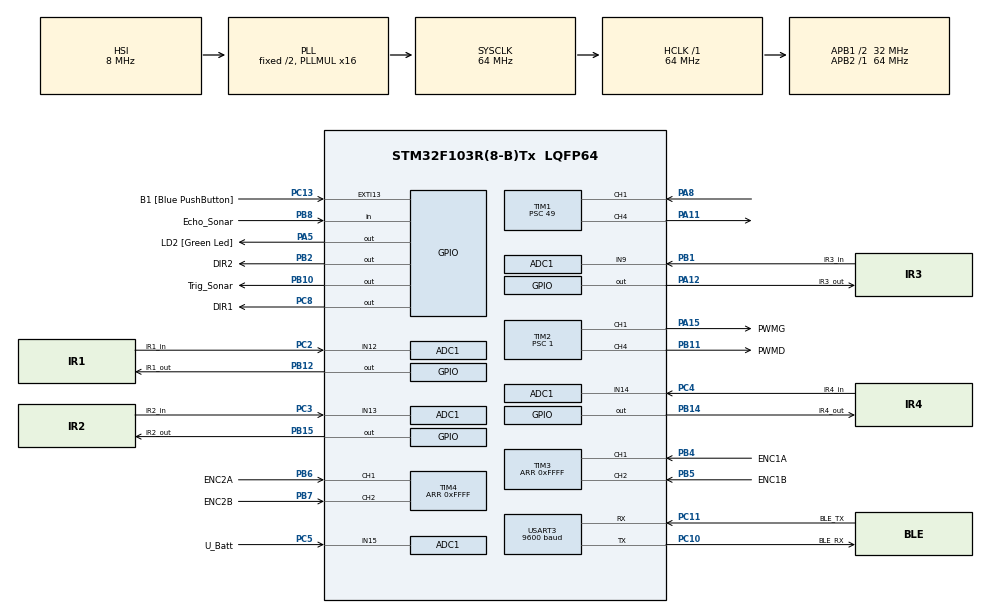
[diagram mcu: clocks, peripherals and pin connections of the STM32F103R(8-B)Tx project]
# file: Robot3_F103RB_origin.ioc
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ADC1.AWD1HighThreshold=3071
ADC1.AWD1ITMode=ENABLE
ADC1.AWD1LowThreshold=0
ADC1.Channel-0\#ChannelRegularConversion=ADC_CHANNEL_9
ADC1.Channel-1\#ChannelRegularConversion=ADC_CHANNEL_12
ADC1.Channel-2\#ChannelRegularConversion=ADC_CHANNEL_13
ADC1.Channel-3\#ChannelRegularConversion=ADC_CHANNEL_14
ADC1.Channel-4\#ChannelRegularConversion=ADC_CHANNEL_15
ADC1.ContinuousConvMode=ENABLE
ADC1.DataAlign=ADC_DATAALIGN_RIGHT
ADC1.DiscontinuousConvMode=DISABLE
ADC1.EnableAnalogWatchDog=true
ADC1.EnableRegularConversion=ENABLE
ADC1.ExternalTrigConv=ADC_SOFTWARE_START
ADC1.InjNumberOfConversion=0
ADC1.NbrOfConversion=5
ADC1.NbrOfConversionFlag=1
ADC1.Rank-0\#ChannelRegularConversion=1
ADC1.Rank-1\#ChannelRegularConversion=2
ADC1.Rank-2\#ChannelRegularConversion=3
ADC1.Rank-3\#ChannelRegularConversion=4
ADC1.Rank-4\#ChannelRegularConversion=5
ADC1.SamplingTime-0\#ChannelRegularConversion=ADC_SAMPLETIME_239CYCLES_5
ADC1.SamplingTime-1\#ChannelRegularConversion=ADC_SAMPLETIME_239CYCLES_5
ADC1.SamplingTime-2\#ChannelRegularConversion=ADC_SAMPLETIME_239CYCLES_5
ADC1.SamplingTime-3\#ChannelRegularConversion=ADC_SAMPLETIME_239CYCLES_5
ADC1.SamplingTime-4\#ChannelRegularConversion=ADC_SAMPLETIME_239CYCLES_5
ADC1.ScanConvMode=ADC_SCAN_ENABLE
ADC1.WatchdogChannel=ADC_CHANNEL_15
ADC1.WatchdogMode=ADC_ANALOGWATCHDOG_SINGLE_REG
ADC1.master=1
Dma.ADC1.0.Direction=DMA_PERIPH_TO_MEMORY
Dma.ADC1.0.Instance=DMA1_Channel1
Dma.ADC1.0.MemDataAlignment=DMA_MDATAALIGN_HALFWORD
Dma.ADC1.0.MemInc=DMA_MINC_ENABLE
Dma.ADC1.0.Mode=DMA_CIRCULAR
Dma.ADC1.0.PeriphDataAlignment=DMA_PDATAALIGN_HALFWORD
Dma.ADC1.0.PeriphInc=DMA_PINC_DISABLE
Dma.ADC1.0.Priority=DMA_PRIORITY_LOW
Dma.Request0=ADC1
Mcu.Family=STM32F1
Mcu.Name=STM32F103R(8-B)Tx
Mcu.Package=LQFP64
NVIC.ADC1_2_IRQn=true\:0\:0\:false\:false\:true\:true
NVIC.DMA1_Channel1_IRQn=true\:0\:0\:false\:false\:true\:true
NVIC.EXTI15_10_IRQn=true\:0\:0\:false\:true\:true\:1\:true
NVIC.PriorityGroup=NVIC_PRIORITYGROUP_4
NVIC.TIM2_IRQn=true\:0\:0\:false\:false\:true\:true
NVIC.USART3_IRQn=true\:0\:0\:false\:true\:true\:2\:true
PA11.Signal=S_TIM1_CH4
PA12.GPIO_Label=IR3_out
PA12.Signal=GPIO_Output
PA13.GPIO_Label=TMS
PA13.Mode=Serial_Wire
PA13.Signal=SYS_JTMS-SWDIO
PA14.GPIO_Label=TCK
PA14.Mode=Serial_Wire
PA14.Signal=SYS_JTCK-SWCLK
PA15.GPIO_Label=PWMG
PA15.Signal=S_TIM2_CH1_ETR
PA2.GPIO_Label=USART_TX
PA2.GPIO_Mode=GPIO_MODE_AF_PP
PA2.GPIO_PuPd=GPIO_NOPULL
PA2.GPIO_Speed=GPIO_SPEED_FREQ_LOW
PA2.Signal=USART2_TX
PA3.GPIO_Label=USART_RX
PA3.GPIO_Mode=GPIO_MODE_AF_PP
PA3.GPIO_PuPd=GPIO_NOPULL
PA3.GPIO_Speed=GPIO_SPEED_FREQ_LOW
PA3.Signal=USART2_RX
PA5.GPIO_Label=LD2 [Green Led]
PA5.GPIO_ModeDefaultOutputPP=GPIO_MODE_OUTPUT_PP
PA5.GPIO_PuPd=GPIO_NOPULL
PA5.GPIO_Speed=GPIO_SPEED_FREQ_LOW
PA5.Signal=GPIO_Output
PA8.Signal=S_TIM1_CH1
PB1.GPIO_Label=IR3_in
PB1.Signal=ADCx_IN9
PB10.GPIO_Label=Trig_Sonar
PB10.Signal=GPIO_Output
PB11.GPIO_Label=PWMD
PB11.Signal=S_TIM2_CH4
PB12.GPIO_Label=IR1_out
PB12.Signal=GPIO_Output
PB14.GPIO_Label=IR4_out
PB14.Signal=GPIO_Output
PB15.GPIO_Label=IR2_out
PB15.Signal=GPIO_Output
PB2.GPIO_Label=DIR2
PB2.Signal=GPIO_Output
PB3.GPIO_Label=SWO
PB3.Signal=SYS_JTDO-TRACESWO
PB4.GPIO_Label=ENC1A
PB4.Signal=S_TIM3_CH1
PB5.GPIO_Label=ENC1B
PB5.Signal=S_TIM3_CH2
PB6.GPIO_Label=ENC2A
PB6.Signal=S_TIM4_CH1
PB7.GPIO_Label=ENC2B
PB7.Signal=S_TIM4_CH2
PB8.GPIO_Label=Echo_Sonar
PB8.Signal=GPIO_Input
PC10.GPIO_Label=BLE_RX
PC10.Mode=Asynchronous
PC10.Signal=USART3_TX
PC11.GPIO_Label=BLE_TX
PC11.Mode=Asynchronous
PC11.Signal=USART3_RX
PC13-TAMPER-RTC.GPIO_Label=B1 [Blue PushButton]
PC13-TAMPER-RTC.GPIO_ModeDefaultEXTI=GPIO_MODE_IT_FALLING
PC13-TAMPER-RTC.GPIO_PuPd=GPIO_NOPULL
PC13-TAMPER-RTC.Signal=GPXTI13
PC14-OSC32_IN.Signal=RCC_OSC32_IN
PC15-OSC32_OUT.Signal=RCC_OSC32_OUT
PC2.GPIO_Label=IR1_in
PC2.Signal=ADCx_IN12
PC3.GPIO_Label=IR2_in
PC3.Signal=ADCx_IN13
PC4.GPIO_Label=IR4_in
PC4.Signal=ADCx_IN14
PC5.GPIO_Label=U_Batt
PC5.Signal=ADCx_IN15
PC8.GPIO_Label=DIR1
PC8.Signal=GPIO_Output
PD0-OSC_IN.Signal=RCC_OSC_IN
PD1-OSC_OUT.Signal=RCC_OSC_OUT
ProjectManager.HeapSize=0x200
ProjectManager.StackSize=0x400
ProjectManager.TargetToolchain=TrueSTUDIO
RCC.ADCPresc=RCC_ADCPCLK2_DIV8
RCC.AHBFreq_Value=64000000
RCC.APB1CLKDivider=RCC_HCLK_DIV2
RCC.APB1Freq_Value=32000000
RCC.APB1TimFreq_Value=64000000
RCC.APB2Freq_Value=64000000
RCC.APB2TimFreq_Value=64000000
RCC.HCLKFreq_Value=64000000
RCC.PLLMUL=RCC_PLL_MUL16
RCC.SYSCLKFreq_VALUE=64000000
RCC.SYSCLKSource=RCC_SYSCLKSOURCE_PLLCLK
RCC.USBFreq_Value=64000000
SH.ADCx_IN12.0=ADC1_IN12,IN12
SH.ADCx_IN13.0=ADC1_IN13,IN13
SH.ADCx_IN14.0=ADC1_IN14,IN14
SH.ADCx_IN15.0=ADC1_IN15,IN15
SH.ADCx_IN9.0=ADC1_IN9,IN9
SH.S_TIM1_CH1.0=TIM1_CH1,PWM_Input_1
SH.S_TIM1_CH4.0=TIM1_CH4,PWM Generation4 CH4
SH.S_TIM2_CH1_ETR.0=TIM2_CH1,PWM Generation1 CH1
SH.S_TIM2_CH4.0=TIM2_CH4,PWM Generation4 CH4
SH.S_TIM3_CH1.0=TIM3_CH1,Encoder_Interface
SH.S_TIM3_CH2.0=TIM3_CH2,Encoder_Interface
SH.S_TIM4_CH1.0=TIM4_CH1,Encoder_Interface
SH.S_TIM4_CH2.0=TIM4_CH2,Encoder_Interface
TIM1.AutoReloadPreload=TIM_AUTORELOAD_PRELOAD_ENABLE
TIM1.Channel-PWM\ Generation4\ CH4=TIM_CHANNEL_4
TIM1.ClockDivision=TIM_CLOCKDIVISION_DIV1
TIM1.Period=64000
TIM1.Prescaler=49
TIM1.Pulse-PWM\ Generation4\ CH4=480
TIM2.AutoReloadPreload=TIM_AUTORELOAD_PRELOAD_DISABLE
TIM2.Channel-PWM\ Generation1\ CH1=TIM_CHANNEL_1
TIM2.Channel-PWM\ Generation4\ CH4=TIM_CHANNEL_4
TIM2.Period=64000
TIM2.Prescaler=1
TIM3.AutoReloadPreload=TIM_AUTORELOAD_PRELOAD_ENABLE
TIM3.EncoderMode=TIM_ENCODERMODE_TI12
TIM3.IC1Filter=8
TIM3.IC1Polarity=TIM_ICPOLARITY_RISING
TIM3.IC2Filter=8
TIM3.IC2Polarity=TIM_ICPOLARITY_RISING
TIM3.Period=0xFFFF
TIM4.AutoReloadPreload=TIM_AUTORELOAD_PRELOAD_ENABLE
TIM4.EncoderMode=TIM_ENCODERMODE_TI12
TIM4.IC1Filter=8
TIM4.IC1Polarity=TIM_ICPOLARITY_RISING
TIM4.IC2Filter=8
TIM4.IC2Polarity=TIM_ICPOLARITY_RISING
TIM4.Period=0xFFFF
USART3.BaudRate=9600
USART3.VirtualMode=VM_ASYNC
VP_TIM1_VS_ClockSourceINT.Mode=Internal
VP_TIM2_VS_ClockSourceINT.Mode=Internal
board=NUCLEO-F103RB

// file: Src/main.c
/**
 ******************************************************************************
 * @file           : main.c
 * @brief          : Main program body
 ******************************************************************************
 ** This notice applies to any and all portions of this file
 * that are not between comment pairs USER CODE BEGIN and
 * USER CODE END. Other portions of this file, whether
 * inserted by the user or by software development tools
 * are owned by their respective copyright owners.
 *
 * COPYRIGHT(c) 2019 STMicroelectronics
 *
 * Redistribution and use in source and binary forms, with or without modification,
 * are permitted provided that the following conditions are met:
 *   1. Redistributions of source code must retain the above copyright notice,
 *      this list of conditions and the following disclaimer.
 *   2. Redistributions in binary form must reproduce the above copyright notice,
 *      this list of conditions and the following disclaimer in the documentation
 *      and/or other materials provided with the distribution.
 *   3. Neither the name of STMicroelectronics nor the names of its contributors
 *      may be used to endorse or promote products derived from this software
 *      without specific prior written permission.
 *
 * THIS SOFTWARE IS PROVIDED BY THE COPYRIGHT HOLDERS AND CONTRIBUTORS "AS IS"
 * AND ANY EXPRESS OR IMPLIED WARRANTIES, INCLUDING, BUT NOT LIMITED TO, THE
 * IMPLIED WARRANTIES OF MERCHANTABILITY AND FITNESS FOR A PARTICULAR PURPOSE ARE
 * DISCLAIMED. IN NO EVENT SHALL THE COPYRIGHT HOLDER OR CONTRIBUTORS BE LIABLE
 * FOR ANY DIRECT, INDIRECT, INCIDENTAL, SPECIAL, EXEMPLARY, OR CONSEQUENTIAL
 * DAMAGES (INCLUDING, BUT NOT LIMITED TO, PROCUREMENT OF SUBSTITUTE GOODS OR
 * SERVICES; LOSS OF USE, DATA, OR PROFITS; OR BUSINESS INTERRUPTION) HOWEVER
 * CAUSED AND ON ANY THEORY OF LIABILITY, WHETHER IN CONTRACT, STRICT LIABILITY,
 * OR TORT (INCLUDING NEGLIGENCE OR OTHERWISE) ARISING IN ANY WAY OUT OF THE USE
 * OF THIS SOFTWARE, EVEN IF ADVISED OF THE POSSIBILITY OF SUCH DAMAGE.
 *
 ******************************************************************************
 */
#include "main.h"
#include "stm32f1xx_hal.h"
#include "adc.h"
#include "dma.h"
#include "tim.h"
#include "usart.h"
#include "gpio.h"

/* USER CODE BEGIN Includes */
#include <stdlib.h>
#include <stdio.h>
/* USER CODE END Includes */

/* USER CODE BEGIN PV */
/* Private variables ---------------------------------------------------------*/
#define AVANCE 	GPIO_PIN_SET
#define RECULE  GPIO_PIN_RESET
#define POURCENT 640
#define Seuil_Dist_4 1600 // corespond à 10 cm.
#define Seuil_Dist_3 1600
#define Seuil_Dist_1 1600
#define Seuil_Dist_2 1600
#define V1 38
#define V2 56
#define V3 76
#define Vmax 95
#define T_2_S 1000 //( pwm période = 2 ms )
#define T_200_MS 100
#define T_2000_MS 1000
#define CKp_D 100  //80 Robot1
#define CKp_G 100  //80 Robot1
#define CKi_D 80  //50 Robot1
#define CKi_G 80  //50 Robot1
#define CKd_D 0
#define CKd_G 0
#define DELTA 0x50

#define MAX(a,b) \
   ({ __typeof__ (a) _a = (a); \
       __typeof__ (b) _b = (b); \
     _a > _b ? _a : _b; })

#define MIN(a,b) \
   ({ __typeof__ (a) _a = (a); \
       __typeof__ (b) _b = (b); \
     _a < _b ? _a : _b; })

enum CMDE {
	START,
	STOP,
	AVANT,
	ARRIERE,
	DROITE,
	GAUCHE,
	DEMO_SERVO_ON,
	DEMO_SERVO_OFF,
	DEMO_MOVE_ON,
	DEMO_MOVE_OFF,
};
volatile enum CMDE CMDE;
enum MODE {
	SLEEP, ACTIF
};
volatile enum MODE Mode;
volatile unsigned char New_CMDE = 0;
// volatile uint16_t Dist_ACS_1, Dist_ACS_2, Dist_ACS_3, Dist_ACS_4;
volatile int16_t Dist_ACS_1, Dist_ACS_2, Dist_ACS_3, Dist_ACS_4; // OX
volatile unsigned int Time = 0;
volatile unsigned int Tech = 0;
// uint16_t adc_buffer[8];
// uint16_t Buff_Dist[8];
uint16_t adc_buffer[10]; // OX
uint16_t Buff_Dist[10]; // OX
uint8_t BLUE_RX;

uint16_t _DirG, _DirD, CVitG, CVitD, DirD, DirG;
uint16_t _CVitD = 0;
uint16_t _CVitG = 0;
uint16_t VitD, VitG, DistD, DistG;
uint16_t DistD_old = 0;
uint16_t DistG_old = 0;
int Cmde_VitD = 0;
int Cmde_VitG = 0;
unsigned long Dist_parcours = 0;
volatile uint32_t Dist_Obst;
uint32_t Dist_Obst_;
uint32_t Dist_Obst_cm;
uint32_t Dist;
uint8_t UNE_FOIS = 1;
uint32_t OV = 0;
/* USER CODE END PV */

void SystemClock_Config(void);
static void MX_NVIC_Init(void);

/* USER CODE BEGIN PFP */
/* Private function prototypes -----------------------------------------------*/
void Gestion_Commandes(void);
void regulateur(void);
void controle(void);
void Calcul_Vit(void);
void ACS(void);
/* USER CODE END PFP */

/* USER CODE BEGIN 0 */

// OXA
enum ETAT {
	VEILLE,
	ARRET,
	AV1,
	AV2,
	AV3,
	RV1,
	RV2,
	RV3,
	DV1,
	DV2,
	DV3,
	GV1,
	GV2,
	GV3,
	DEMO_SERVO,
	DEMO_MOVE
};
enum ETAT Etat = VEILLE;
// OXV

/* OX Includes */
#include "func/time.h" // OX

/* OX C Includes */
#include "component/battery.c" // OX
#include "component/servo.c" // OX
// #include "component/sonar.c" // OX
#include "component/zigbee.c" // OX

/* Gestion_Command moved */
#include "func/acs.c" // OX
#include "func/regulateur.c" // OX
#include "func/move.c" // OX
#include "func/time.c" // OX
#include "func/gestion_command.c" // OX
// #include "func/.c" // OX

void Calcul_Vit(void) {

	DistD = __HAL_TIM_GET_COUNTER(&htim3);
	DistG = __HAL_TIM_GET_COUNTER(&htim4);
	VitD = abs(DistD - DistD_old);
	VitG = abs(DistG - DistG_old);
	DistD_old = DistD;
	DistG_old = DistG;

	if (DirD == DirG) {
		Dist_parcours = Dist_parcours + ((VitD + VitG) >> 1);
	}

	uint16_t VitDG = MIN(VitD, VitG); // OX

	move_update(VitDG); // OX

	VitDG = 0;
}

void controle(void) {
	if (Tech >= T_200_MS) {
		Tech = 0;

		check_low_battery(); // OX
		ACS();
		Calcul_Vit();
		regulateur();

		if (servo_spin_done) {
			servo_spin_done = 0;
			move_walk_start = 0;
		}
	}
}

/*
 * OX
 */
void run_forever() {
	while (1) {
		Gestion_Commandes();
		gestion_servo(); // OX
		gestion_move(); // OX

		controle();
	}
}

/*
 * OX
 */
void main_center(void) {
	init_servo();
	// init_sonar();

	// servo_spin_start = 1;
	// move_walk_start = 1;

	//test_servo_sonar_forever();
	//test_servo_forever();
	//test_time_forever();

	run_forever();
}
/* USER CODE END 0 */

int main(void) {

	/* MCU Configuration----------------------------------------------------------*/

	/* Reset of all peripherals, Initializes the Flash interface and the Systick. */
	HAL_Init();

	/* USER CODE BEGIN Init */
	Dist_Obst = 0;
	/* USER CODE END Init */

	/* Configure the system clock */
	SystemClock_Config();

	/* Initialize all configured peripherals */
	MX_GPIO_Init();
	MX_DMA_Init();
	MX_ADC1_Init();
	MX_TIM2_Init();
	MX_TIM3_Init();
	MX_TIM4_Init();
	MX_USART3_UART_Init();
	MX_TIM1_Init();

	/* Initialize interrupts */
	MX_NVIC_Init();
	/* USER CODE BEGIN 2 */
	HAL_SuspendTick(); // suppresion des Tick interrupt pour le mode sleep.

	// OXA
	HAL_TIM_PWM_Start(&htim1, TIM_CHANNEL_4);  // OX Start PWM Servosonar
	// OXV

	HAL_TIM_PWM_Start(&htim2, TIM_CHANNEL_4);  // Start PWM motor
	HAL_TIM_PWM_Start(&htim2, TIM_CHANNEL_1);
	CMDE = STOP;
	New_CMDE = 1;
	HAL_TIM_Base_Start_IT(&htim2);  // Start IT sur font montant PWM
	HAL_TIM_Encoder_Start(&htim3, TIM_CHANNEL_ALL);
	HAL_TIM_Encoder_Start(&htim4, TIM_CHANNEL_ALL);
	HAL_UART_Receive_IT(&huart3, &BLUE_RX, 1);

	/* USER CODE END 2 */

	/* Infinite loop */
	/* USER CODE BEGIN WHILE */
	main_center(); // OX
	/* USER CODE END WHILE */

}

void SystemClock_Config(void) {

	RCC_OscInitTypeDef RCC_OscInitStruct;
	RCC_ClkInitTypeDef RCC_ClkInitStruct;
	RCC_PeriphCLKInitTypeDef PeriphClkInit;

	/**Initializes the CPU, AHB and APB busses clocks
	 */
	RCC_OscInitStruct.OscillatorType = RCC_OSCILLATORTYPE_HSI;
	RCC_OscInitStruct.HSIState = RCC_HSI_ON;
	RCC_OscInitStruct.HSICalibrationValue = 16;
	RCC_OscInitStruct.PLL.PLLState = RCC_PLL_ON;
	RCC_OscInitStruct.PLL.PLLSource = RCC_PLLSOURCE_HSI_DIV2;
	RCC_OscInitStruct.PLL.PLLMUL = RCC_PLL_MUL16;
	if (HAL_RCC_OscConfig(&RCC_OscInitStruct) != HAL_OK) {
		_Error_Handler(__FILE__, __LINE__);
	}

	/**Initializes the CPU, AHB and APB busses clocks
	 */
	RCC_ClkInitStruct.ClockType = RCC_CLOCKTYPE_HCLK | RCC_CLOCKTYPE_SYSCLK
	    | RCC_CLOCKTYPE_PCLK1 | RCC_CLOCKTYPE_PCLK2;
	RCC_ClkInitStruct.SYSCLKSource = RCC_SYSCLKSOURCE_PLLCLK;
	RCC_ClkInitStruct.AHBCLKDivider = RCC_SYSCLK_DIV1;
	RCC_ClkInitStruct.APB1CLKDivider = RCC_HCLK_DIV2;
	RCC_ClkInitStruct.APB2CLKDivider = RCC_HCLK_DIV1;

	if (HAL_RCC_ClockConfig(&RCC_ClkInitStruct, FLASH_LATENCY_2) != HAL_OK) {
		_Error_Handler(__FILE__, __LINE__);
	}

	PeriphClkInit.PeriphClockSelection = RCC_PERIPHCLK_ADC;
	PeriphClkInit.AdcClockSelection = RCC_ADCPCLK2_DIV8;
	if (HAL_RCCEx_PeriphCLKConfig(&PeriphClkInit) != HAL_OK) {
		_Error_Handler(__FILE__, __LINE__);
	}

	/**Configure the Systick interrupt time
	 */
	HAL_SYSTICK_Config(HAL_RCC_GetHCLKFreq() / 1000);

	/**Configure the Systick
	 */
	HAL_SYSTICK_CLKSourceConfig(SYSTICK_CLKSOURCE_HCLK);

	/* SysTick_IRQn interrupt configuration */
	HAL_NVIC_SetPriority(SysTick_IRQn, 0, 0);
}

/**
 * @brief NVIC Configuration.
 * @retval None
 */
static void MX_NVIC_Init(void) {
	/* EXTI15_10_IRQn interrupt configuration */
	HAL_NVIC_SetPriority(EXTI15_10_IRQn, 0, 0);
	HAL_NVIC_EnableIRQ(EXTI15_10_IRQn);
	/* USART3_IRQn interrupt configuration */
	HAL_NVIC_SetPriority(USART3_IRQn, 0, 0);
	HAL_NVIC_EnableIRQ(USART3_IRQn);
}

/* USER CODE BEGIN 4 */
#include "component/bluetooth.c"
#include "func/hal_interruption.c"
/* USER CODE END 4 */

void _Error_Handler(char *file, int line) {
	while (1) {
	}
}

/************************ (C) COPYRIGHT STMicroelectronics *****END OF FILE****/
